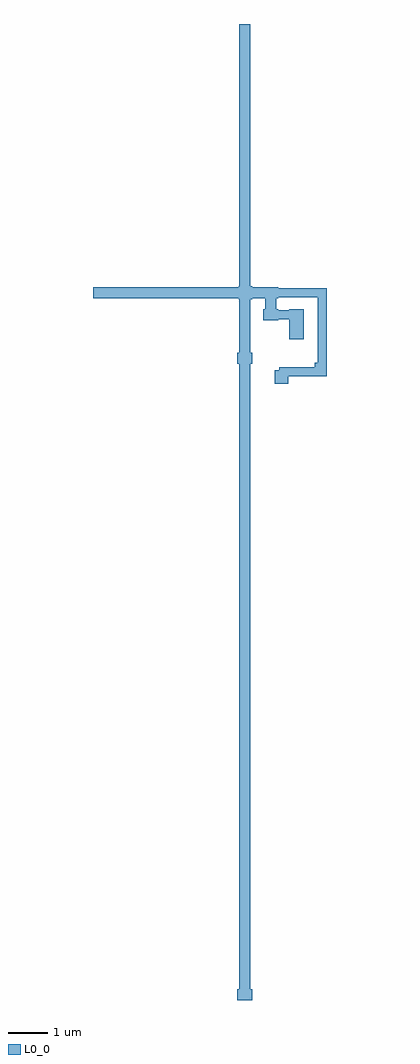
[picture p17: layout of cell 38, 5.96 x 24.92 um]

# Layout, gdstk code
import gdstk
lib = gdstk.Library(unit=1e-6, precision=1e-09)
def P(c, l, *ps):  # polygons
    for p in ps: c.add(gdstk.Polygon(p, *l))
L0_0 = (0, 0)

c_38 = lib.new_cell('38')
P(c_38, L0_0, [(904.34,923.86),(904.72,923.86),(904.72,923.58),(904.34,923.58),(904.34,923.86)],
  [(905,923.86),(905.38,923.86),(905.38,923.095),(905,923.095),(905,923.86)],
  [(904.415,923.835),(905.19,923.835),(905.19,923.605),(904.415,923.605),(904.415,923.835)],
  [(903.68,924.42),(904.06,924.42),(904.06,924.14),(903.68,924.14),(903.68,924.42)],
  [(904.06,924.45),(904.06,924.395),(905.965,924.395),(905.965,922.145),(904.98,922.145),(904.98,921.955),(904.64,921.955),(904.64,922.295),(904.75,922.295),(904.75,922.375),(905.66,922.375),(905.66,922.485),(905.735,922.485),(905.735,924.165),(904.06,924.165),(904.06,924.11),(903.72,924.11),(903.72,924.45),(904.06,924.45)],
  [(903.68,924.42),(904.06,924.42),(904.06,924.14),(903.68,924.14),(903.68,924.42)],
  [(903.73,906.22),(903.73,924.42),(904.01,924.42),(904.01,906.22),(903.73,906.22)],
  [(903.68,906.5),(904.06,906.5),(904.06,906.22),(903.68,906.22),(903.68,906.5)],
  [(904.39,923.58),(904.39,924.42),(904.67,924.42),(904.67,923.58),(904.39,923.58)],
  [(904.34,923.86),(904.72,923.86),(904.72,923.58),(904.34,923.58),(904.34,923.86)],
  [(904.34,924.42),(904.72,924.42),(904.72,924.14),(904.34,924.14),(904.34,924.42)],
  [(901.09,924.42),(904.67,924.42),(904.67,924.14),(901.09,924.14),(901.09,924.42)],
  [(904.34,924.42),(904.72,924.42),(904.72,924.14),(904.34,924.14),(904.34,924.42)],
  [(900,924.42),(901.37,924.42),(901.37,924.14),(900,924.14),(900,924.42)],
  [(901.04,924.42),(901.42,924.42),(901.42,924.14),(901.04,924.14),(901.04,924.42)],
  [(903.73,922.46),(903.73,931.14),(904.01,931.14),(904.01,922.46),(903.73,922.46)],
  [(903.68,922.74),(904.06,922.74),(904.06,922.46),(903.68,922.46),(903.68,922.74)])

lib.write_gds('38.gds')
